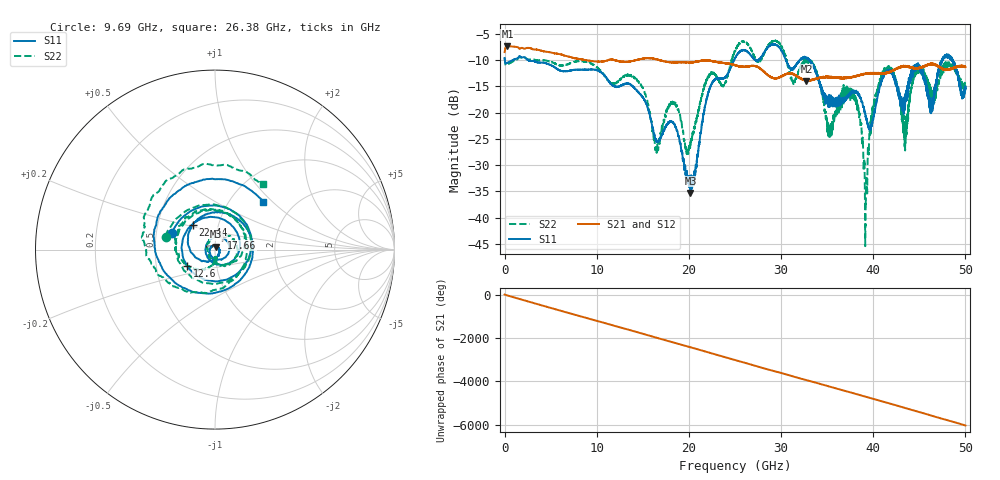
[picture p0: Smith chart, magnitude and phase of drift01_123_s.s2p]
!Created with skrf (http://scikit-rf.org).
# Hz S RI R 50.0
!freq ReS11 ImS11 ReS21 ImS21 ReS12 ImS12 ReS22 ImS22
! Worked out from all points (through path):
!   10001 points, 300 kHz to 50 GHz, reference 50 ohm
!   highest |S21| = -7.33 dB at 310.3 MHz (marker M1); lowest = -13.9 dB at 32.76 GHz (marker M2)
!   group delay of S21, straight-line fit = 335 ps
!   lowest |S11| = -35.3 dB at 20.17 GHz (marker M3), VSWR 1.03, Z = 50.7 + j1.57 ohm
!   |S11| at or under -10 dB: 2.554 GHz to 24.9 GHz (22.35 GHz wide, 163 % of centre); 30.53 GHz to 32.02 GHz (1.489 GHz wide, 4.76 % of centre); 33.08 GHz to 47.44 GHz (14.36 GHz wide, 35.7 % of centre) (the widest 3 of 17)
!   |S22| runs from -45.4 to -6.3 dB; largest |S21 - S12| = 0.0099
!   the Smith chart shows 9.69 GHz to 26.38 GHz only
!   S11 on the Smith chart (normalised r, x): 9.69 GHz: 0.60, +0.12; 12.6 GHz: 0.72, -0.13; 17.66 GHz: 1.07, +0.15; 22.44 GHz: 0.75, +0.21; 26.38 GHz: 1.41, +0.89
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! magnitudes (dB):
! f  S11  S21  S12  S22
! 300 kHz  -9.6  -8.5  -8.5  -9.6
! 310.3 MHz  -10.5  -7.3  -7.3  -10.9
! 8.335 GHz  -11.8  -9.8  -9.8  -10.2
! 9.69 GHz  -11.8  -10.2  -10.2  -11.0
! 12.6 GHz  -14.9  -10.3  -10.3  -13.7
! 16.67 GHz  -25.6  -9.9  -10.0  -27.1
! 17.66 GHz  -22.2  -10.3  -10.3  -19.6
! 20.17 GHz  -35.3  -10.4  -10.5  -26.1
! 22.44 GHz  -14.6  -10.2  -10.2  -12.5
! 25 GHz  -9.6  -11.0  -11.0  -8.3
! 26.38 GHz  -8.4  -11.2  -11.3  -6.9
! 32.76 GHz  -9.6  -13.9  -13.8  -10.0
! 33.34 GHz  -10.7  -13.8  -13.7  -10.6
! 35.25 GHz  -17.9  -13.3  -13.3  -22.8
! 37.99 GHz  -15.9  -13.1  -13.1  -17.4
! 39.16 GHz  -20.5  -12.6  -12.7  -41.3
! 40.14 GHz  -19.8  -12.5  -12.5  -17.7
! 41.67 GHz  -11.9  -12.3  -12.4  -12.1
! 43.45 GHz  -18.1  -11.2  -11.2  -23.6
! 44.88 GHz  -10.7  -11.5  -11.6  -12.0
! 46.28 GHz  -19.1  -10.7  -10.7  -17.1
! 50 GHz  -15.3  -11.4  -11.3  -15.1
